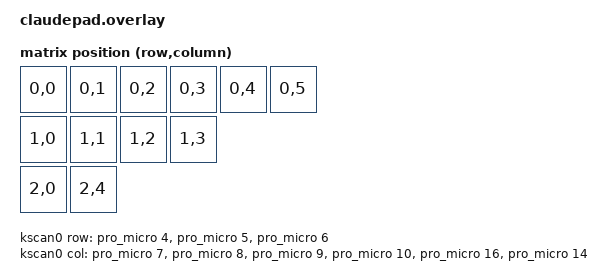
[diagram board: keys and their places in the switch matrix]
/*
 * ClaudePad — ZMK shield 定义（硬件层）
 * ---------------------------------------------------------------------------
 * 键盘：三行五列 11 键 + 1 个侧边审批拨杆
 * 主控：nice!nano v2（nRF52840，Pro Micro 引脚兼容）
 *
 * ⚠️ 引脚分配必须与实际 PCB 走线一致！改这里之前先确认 PCB。
 *    本项目 CAD 只定义了「外壳/定位板」，PCB 尚未设计，所以下面是
 *    一套建议分配 —— 打板前请核对，打板后如需调整改此文件即可。
 */

#include <dt-bindings/zmk/matrix_transform.h>

/ {
    chosen {
        zmk,kscan = &kscan0;
        zmk,physical-layout = &physical_layout0;
    };

    /*
     * 键盘扫描矩阵
     * -----------------------------------------------------------------------
     * 电气上是 3 行 × 6 列，共 18 个交点，实际用到 12 个：
     *
     *   行1: 列1..列6   全部使用（列6 = 审批拨杆）
     *   行2: 列1..列4   列5、列6 未使用
     *   行3: 列1、列5   列2、列3、列4、列6 未使用
     *
     * 大键的并联接法（重要）：
     *   · 回车 2u —— 定位板上开 2 个轴孔，两个轴体都接到 (行2,列4)
     *   · 空格 4u —— 定位板上开 3 个轴孔，三个轴体都接到 (行3,列1)
     *   即：大键的多个轴体在电气上并联，任一轴触发即响应。
     *
     * 二极管方向：col2row（列线接二极管正极 → 行线）
     *   ⚠️ 审批拨杆是拨动开关不是轴体，建议也串一只 1N4148 防鬼影。
     */
    kscan0: kscan0 {
        compatible = "zmk,kscan-gpio-matrix";
        diode-direction = "col2row";
        wakeup-source;

        row-gpios
            = <&pro_micro 4 (GPIO_ACTIVE_HIGH | GPIO_PULL_DOWN)>
            , <&pro_micro 5 (GPIO_ACTIVE_HIGH | GPIO_PULL_DOWN)>
            , <&pro_micro 6 (GPIO_ACTIVE_HIGH | GPIO_PULL_DOWN)>
            ;

        col-gpios
            = <&pro_micro 7  GPIO_ACTIVE_HIGH>
            , <&pro_micro 8  GPIO_ACTIVE_HIGH>
            , <&pro_micro 9  GPIO_ACTIVE_HIGH>
            , <&pro_micro 10 GPIO_ACTIVE_HIGH>
            , <&pro_micro 16 GPIO_ACTIVE_HIGH>
            , <&pro_micro 14 GPIO_ACTIVE_HIGH>
            ;
    };

    /*
     * 矩阵变换：把 (行,列) 映射成「键位序号」
     * -----------------------------------------------------------------------
     * map 的顺序 = 键位序号 0,1,2,...，必须与 keymap 里 bindings 的顺序
     * 完全一致（都是从左到右、从上到下）。
     *
     * 键位序号对照（共 12 个）：
     *   0  访问等级   1  ↑      2  模型     3  命令行   4  停止    5  审批拨杆
     *   6  ←         7  ↓      8  →        9  回车
     *   10 空格      11 语音
     */
    default_transform: keymap_transform_0 {
        compatible = "zmk,matrix-transform";
        columns = <6>;
        rows = <3>;
        map = <
            RC(0,0) RC(0,1) RC(0,2) RC(0,3) RC(0,4) RC(0,5)
            RC(1,0) RC(1,1) RC(1,2) RC(1,3)
            RC(2,0) RC(2,4)
        >;
    };

    physical_layout0: physical_layout_0 {
        compatible = "zmk,physical-layout";
        display-name = "ClaudePad";
        kscan = <&kscan0>;
        transform = <&default_transform>;
    };
};
